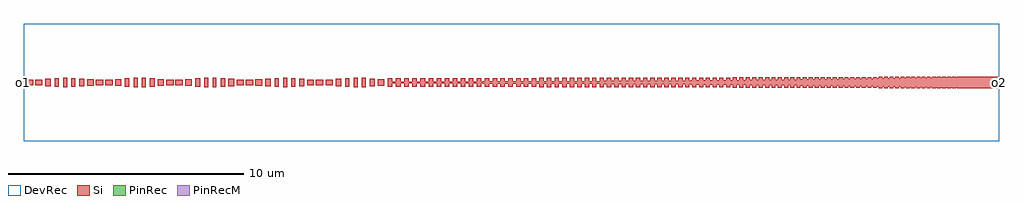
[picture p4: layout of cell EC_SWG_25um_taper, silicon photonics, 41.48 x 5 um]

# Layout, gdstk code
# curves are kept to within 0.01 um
import gdstk
lib = gdstk.Library(unit=1e-6, precision=1e-09)
def R(c, l, rs):  # rectangles x0, y0, x1, y1
    for r in rs: c.add(gdstk.rectangle(r[:2], r[2:], *l))
def P(c, l, *ps):  # polygons
    for p in ps: c.add(gdstk.Polygon(p, *l))
Si = (1, 0)
PinRec = (1, 10)
PinRecM = (1, 11)
DevRec = (68, 0)

nonlinear_taper_6 = lib.new_cell('Nonlinear_Taper$6')
P(nonlinear_taper_6, Si, [(25,-0.25),(20.202,-0.164),(14.394,-0.098),(0,-0.03),(0,0.03),(14.394,0.098),(20.202,0.164),(25,0.25)])

rectangle_s1_0p5_lwg_cf_ = lib.new_cell('rectangle_S1_0p5_LWG_CF_2a77620c$6')
R(rectangle_s1_0p5_lwg_cf_, Si, [(0,0,1,0.5)])

ec_swg_25um_taper = lib.new_cell('EC_SWG_25um_taper')
R(ec_swg_25um_taper, Si, [(40.265,-0.25,40.399,0.25), (40.063,-0.249,40.198,0.249), (39.859,-0.248,39.995,0.248), (39.446,-0.247,39.583,0.247), (39.653,-0.247,39.79,0.247), (39.236,-0.246,39.375,0.246), (39.025,-0.245,39.164,0.245), (38.812,-0.244,38.952,0.244), (38.597,-0.243,38.738,0.243), (38.161,-0.242,38.304,0.242), (38.38,-0.242,38.522,0.242), (37.941,-0.241,38.085,0.241), (37.718,-0.24,37.863,0.24), (37.494,-0.239,37.64,0.239), (37.268,-0.238,37.415,0.238), (37.04,-0.237,37.188,0.237), (36.81,-0.236,36.959,0.236), (36.345,-0.235,36.496,0.235), (36.578,-0.235,36.728,0.235), (36.11,-0.234,36.261,0.234), (35.872,-0.233,36.025,0.233), (35.633,-0.232,35.786,0.232), (35.392,-0.231,35.546,0.231), (35.149,-0.23,35.304,0.23), (34.904,-0.229,35.06,0.229), (34.409,-0.228,34.567,0.228), (34.658,-0.228,34.815,0.228), (34.159,-0.227,34.317,0.227), (33.906,-0.226,34.066,0.226), (33.652,-0.225,33.812,0.225), (33.396,-0.224,33.557,0.224), (33.138,-0.223,33.3,0.223), (32.878,-0.222,33.041,0.222), (32.353,-0.221,32.518,0.221), (32.617,-0.221,32.78,0.221), (32.088,-0.22,32.253,0.22), (31.821,-0.219,31.987,0.219), (31.551,-0.218,31.718,0.218), (31.28,-0.217,31.448,0.217), (31.008,-0.216,31.176,0.216), (30.733,-0.215,30.902,0.215), (30.178,-0.214,30.349,0.214), (30.457,-0.214,30.627,0.214), (29.898,-0.213,30.07,0.213), (29.616,-0.212,29.788,0.212), (29.332,-0.211,29.505,0.211), (29.047,-0.21,29.221,0.21), (28.47,-0.209,28.646,0.209), (28.759,-0.209,28.934,0.209), (28.179,-0.208,28.355,0.208), (27.887,-0.207,28.063,0.207), (27.592,-0.206,27.77,0.206), (27.296,-0.205,27.474,0.205), (26.698,-0.204,26.878,0.204), (26.998,-0.204,27.177,0.204), (26.397,-0.203,26.577,0.203), (26.094,-0.202,26.275,0.202), (25.789,-0.201,25.97,0.201), (1.443,-0.2,1.604,0.2), (10.795,-0.2,10.956,0.2), (25.174,-0.2,25.357,0.2), (25.483,-0.2,25.665,0.2), (4.442,-0.199,4.605,0.199), (7.793,-0.199,7.956,0.199), (13.794,-0.199,13.956,0.199), (24.865,-0.199,25.048,0.199), (24.553,-0.198,24.737,0.198), (23.925,-0.197,24.11,0.197), (24.24,-0.197,24.424,0.197), (23.609,-0.196,23.795,0.196), (4.79,-0.195,4.958,0.195), (7.438,-0.195,7.606,0.195), (23.291,-0.195,23.477,0.195), (22.651,-0.194,22.838,0.194), (22.972,-0.194,23.158,0.194), (14.14,-0.193,14.312,0.193), (22.328,-0.193,22.516,0.193), (21.679,-0.192,21.868,0.192), (22.004,-0.192,22.193,0.192), (1.786,-0.191,1.962,0.191), (21.352,-0.191,21.541,0.191), (10.432,-0.19,10.608,0.19), (21.023,-0.19,21.213,0.19), (20.362,-0.189,20.553,0.189), (20.693,-0.189,20.884,0.189), (11.135,-0.188,11.316,0.188), (19.695,-0.188,19.887,0.188), (20.029,-0.188,20.22,0.188), (1.075,-0.187,1.257,0.187), (19.359,-0.187,19.552,0.187), (18.684,-0.186,18.877,0.186), (19.022,-0.186,19.215,0.186), (18.345,-0.185,18.538,0.185), (13.423,-0.184,13.61,0.184), (17.662,-0.184,17.856,0.184), (18.004,-0.184,18.198,0.184), (16.974,-0.183,17.169,0.183), (17.319,-0.183,17.514,0.183), (16.282,-0.182,16.478,0.182), (16.629,-0.182,16.824,0.182), (8.129,-0.181,8.322,0.181), (15.585,-0.181,15.781,0.181), (15.934,-0.181,16.13,0.181), (4.065,-0.18,4.259,0.18), (15.235,-0.18,15.432,0.18), (5.124,-0.173,5.33,0.173), (7.052,-0.171,7.26,0.171), (14.473,-0.168,14.686,0.168), (2.118,-0.164,2.339,0.164), (10.036,-0.162,10.261,0.162), (11.468,-0.159,11.697,0.159), (0.675,-0.157,0.909,0.157), (13.019,-0.152,13.261,0.152), (8.463,-0.149,8.709,0.149), (3.657,-0.147,3.908,0.147), (5.46,-0.14,5.723,0.14), (6.637,-0.137,6.906,0.137), (14.811,-0.135,15.083,0.135), (2.459,-0.131,2.739,0.131), (9.616,-0.128,9.901,0.128), (11.811,-0.127,12.099,0.127), (0.253,-0.124,0.547,0.124), (12.596,-0.121,12.895,0.121), (8.814,-0.12,9.115,0.12), (3.234,-0.117,3.539,0.117), (5.82,-0.115,6.131,0.115), (6.215,-0.113,6.53,0.113), (2.828,-0.111,3.146,0.111), (-0.16,-0.11,0.16,0.11), (9.199,-0.11,9.519,0.11), (12.186,-0.11,12.505,0.11)])
R(ec_swg_25um_taper, DevRec, [(-0.24,-2.5,41.235,2.5)])
ec_swg_25um_taper.add(gdstk.FlexPath([(-0.235,0),(-0.245,0)], 0.22, ends="flush", simple_path=True, layer=1, datatype=10))  # PinRec
ec_swg_25um_taper.add(gdstk.FlexPath([(41.23,0),(41.24,0)], 0.5, ends="flush", simple_path=True, layer=1, datatype=10))  # PinRec
ec_swg_25um_taper.add(gdstk.FlexPath([(-0.235,0),(-0.245,0)], 0.22, ends="flush", simple_path=True, layer=1, datatype=11))  # PinRecM
ec_swg_25um_taper.add(gdstk.FlexPath([(41.23,0),(41.24,0)], 0.5, ends="flush", simple_path=True, layer=1, datatype=11))  # PinRecM
ec_swg_25um_taper.add(gdstk.Reference(nonlinear_taper_6, (15.235,0)))
ec_swg_25um_taper.add(gdstk.Reference(rectangle_s1_0p5_lwg_cf_, (40.235,-0.25)))
ec_swg_25um_taper.add(gdstk.Label('o1', (-0.24,0), layer=1, texttype=10))
ec_swg_25um_taper.add(gdstk.Label('o2', (41.235,0), layer=1, texttype=10))
ec_swg_25um_taper.add(gdstk.Label('o1', (-0.24,0), layer=1, texttype=11))
ec_swg_25um_taper.add(gdstk.Label('o2', (41.235,0), layer=1, texttype=11))

lib.write_gds('EC_SWG_25um_taper.gds')
